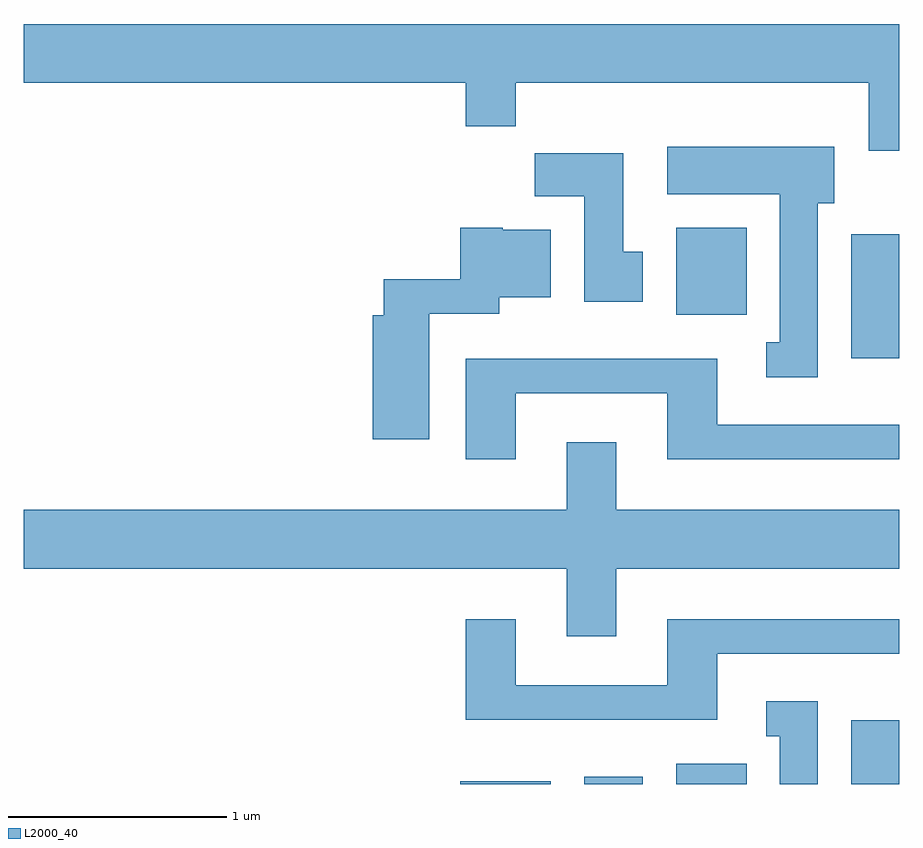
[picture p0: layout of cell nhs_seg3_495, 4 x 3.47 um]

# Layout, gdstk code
import gdstk
lib = gdstk.Library(unit=1e-6, precision=1e-09)
def R(c, l, rs):  # rectangles x0, y0, x1, y1
    for r in rs: c.add(gdstk.rectangle(r[:2], r[2:], *l))
def P(c, l, *ps):  # polygons
    for p in ps: c.add(gdstk.Polygon(p, *l))
L2000_40 = (2000, 40)

nhs_seg3_495 = lib.new_cell('nhs_seg3_495')
R(nhs_seg3_495, L2000_40, [(201.606,1153.892,202.019,1153.904), (202.171,1153.892,202.439,1153.924), (202.591,1153.892,202.914,1153.984), (203.391,1153.892,203.611,1154.184), (203.391,1155.836,203.611,1156.404), (202.591,1156.036,202.914,1156.434)])
P(nhs_seg3_495, L2000_40, [(203.611,1157.364),(199.611,1157.364),(199.611,1157.096),(201.631,1157.096),(201.631,1156.896),(201.859,1156.896),(201.859,1157.096),(203.471,1157.096),(203.471,1156.786),(203.611,1156.786)],
  [(203.239,1156.546),(203.314,1156.546),(203.314,1156.804),(202.551,1156.804),(202.551,1156.586),(203.066,1156.586),(203.066,1155.909),(203.003,1155.909),(203.003,1155.751),(203.239,1155.751)],
  [(202.439,1156.324),(202.349,1156.324),(202.349,1156.774),(201.946,1156.774),(201.946,1156.576),(202.171,1156.576),(202.171,1156.096),(202.439,1156.096)],
  [(201.464,1156.041),(201.784,1156.041),(201.784,1156.116),(202.019,1156.116),(202.019,1156.424),(201.8,1156.424),(201.8,1156.434),(201.606,1156.434),(201.606,1156.199),(201.256,1156.199),(201.256,1156.034),(201.206,1156.034),(201.206,1155.466),(201.464,1155.466)],
  [(201.859,1155.676),(202.551,1155.676),(202.551,1155.376),(203.611,1155.376),(203.611,1155.534),(202.779,1155.534),(202.779,1155.834),(201.631,1155.834),(201.631,1155.376),(201.859,1155.376)],
  [(202.319,1154.876),(203.611,1154.876),(203.611,1155.144),(202.319,1155.144),(202.319,1155.454),(202.091,1155.454),(202.091,1155.144),(199.611,1155.144),(199.611,1154.876),(202.091,1154.876),(202.091,1154.566),(202.319,1154.566)],
  [(202.779,1154.486),(203.611,1154.486),(203.611,1154.644),(202.551,1154.644),(202.551,1154.344),(201.859,1154.344),(201.859,1154.644),(201.631,1154.644),(201.631,1154.186),(202.779,1154.186)],
  [(203.239,1154.269),(203.003,1154.269),(203.003,1154.111),(203.066,1154.111),(203.066,1153.892),(203.239,1153.892)])

lib.write_gds('nhs_seg3_495.gds')
